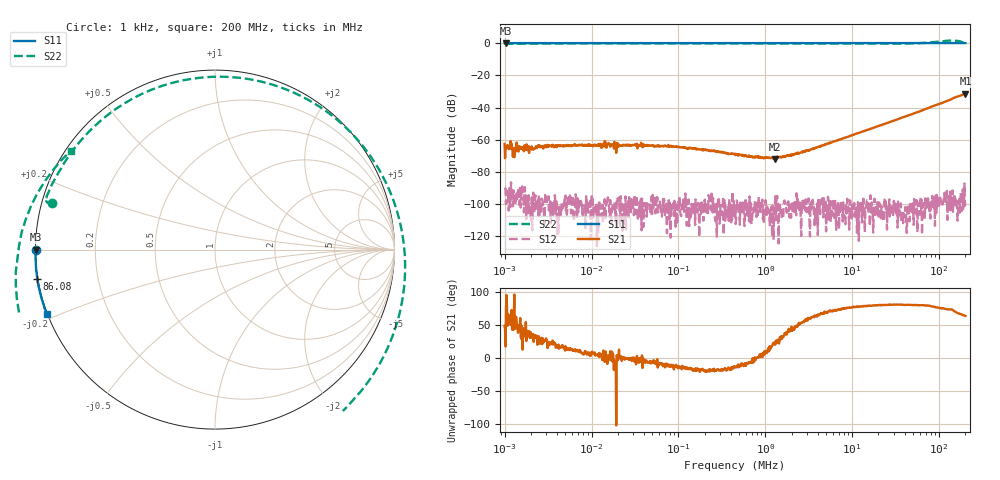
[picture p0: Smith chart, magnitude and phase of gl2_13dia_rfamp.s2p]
! ListType=Log
# MHZ S RI R 50
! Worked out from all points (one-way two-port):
!   1000 points, 1 kHz to 200 MHz, reference 50 ohm
!   highest |S21| = -31.36 dB at 200 MHz (marker M1); lowest = -71.8 dB at 1.303 MHz (marker M2)
!   lowest |S11| = 0.0 dB at 1.025 kHz (marker M3), VSWR 660.62, Z = 0.0757 - j0.00475 ohm
!   |S11| at or under -10 dB: nowhere
!   |S22| runs from -0.5 to 1.7 dB; largest |S21 - S12| = 0.027
!   S11 on the Smith chart (normalised r, x): 1 kHz: 0.00, +0.00; 86.08 MHz: -0.00, -0.08; 200 MHz: -0.00, -0.19
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0.001  -0.9987 0.00032  0.000494 0.000558  -1.15e-05 -2.99e-05  -0.9089 0.26
0.0010247  -0.997 -0.000189  0.000578 0.00018  -1.57e-05 2.66e-05  -0.9096 0.2591
0.0013084  -0.998 2.29e-05  0.000404 0.000387  -4.9e-06 9.7e-06  -0.9149 0.2575
0.0076941  -0.9987 -7.13e-05  0.00067 8.88e-05  -2.1e-06 8.4e-06  -0.9422 0.2759
0.0584804  -0.9986 -0.00024  0.000679 -0.000129  1.1e-06 -7.5e-06  -0.9406 0.2882
0.4499541  -0.9988 -0.00106  0.000323 -8.18e-05  1.8e-06 7.1e-06  -0.9349 0.303
1.302625  -0.999 -0.00283  0.00024 8.87e-05  1e-06 -1.78e-05  -0.9222 0.3319
3.419952  -0.9992 -0.00698  0.000243 0.000449  -1.8e-06 -7.2e-06  -0.8867 0.4028
12.03851  -0.9996 -0.0238  0.000357 0.00161  -7.5e-06 -3e-07  -0.7122 0.6466
26.31347  -0.9995 -0.0511  0.000574 0.00342  3.6e-06 -3.5e-06  -0.3118 0.9064
38.90281  -0.9987 -0.0748  0.000845 0.00499  3.2e-06 4.1e-06  0.104 0.96
52.15945  -0.9972 -0.0996  0.00114 0.00661  7e-07 -1.11e-05  0.5302 0.8281
67.41648  -0.9946 -0.1279  0.00156 0.00855  2.4e-06 -9.8e-06  0.9034 0.4633
86.07812  -0.9902 -0.1622  0.00239 0.011  2.9e-06 -1.01e-05  1.057 -0.1695
96.08372  -0.9872 -0.1804  0.00301 0.0121  -3.9e-06 -1.78e-05  0.9735 -0.5216
107.2524  -0.984 -0.2004  0.0036 0.0134  -1.6e-06 -8.5e-06  0.7458 -0.8653
121.191  -0.9783 -0.2255  0.00439 0.0151  -9.6e-06 -1.37e-05  0.3112 -1.139
135.278  -0.9724 -0.2504  0.00498 0.017  -3.1e-06 -5.7e-06  -0.2103 -1.185
149.1688  -0.9657 -0.2745  0.00671 0.0191  1.5e-06 -9.1e-06  -0.6843 -0.9897
166.5079  -0.9564 -0.3042  0.00857 0.0207  -7e-06 -1.02e-05  -1.054 -0.491
179.1732  -0.9499 -0.3285  0.00987 0.0221  -1.87e-05 -8.8e-06  -1.102 -0.0581
200  -0.9361 -0.3604  0.012 0.0242  -1.29e-05 -6.6e-06  -0.8026 0.5506
